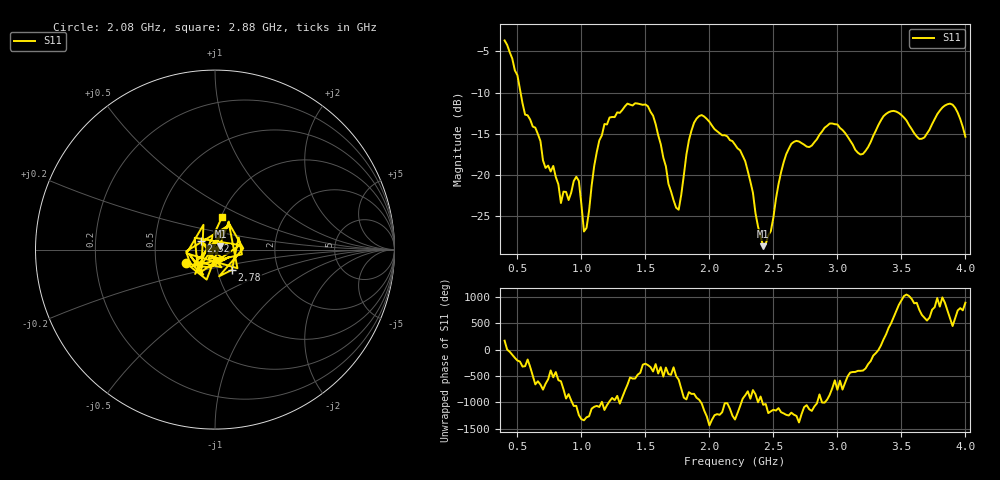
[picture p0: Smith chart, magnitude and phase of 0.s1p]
!Created with skrf (http://scikit-rf.org).
# Hz S RI R 50.0
!freq ReS11 ImS11
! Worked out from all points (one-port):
!   181 points, 400 MHz to 4 GHz, reference 50 ohm
!   lowest |S11| = -28.7 dB at 2.42 GHz (marker M1), VSWR 1.08, Z = 53.1 + j2.2 ohm
!   |S11| at or under -10 dB: 524.7 MHz to end of sweep
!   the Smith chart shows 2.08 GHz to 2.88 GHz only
!   S11 on the Smith chart (normalised r, x): 2.08 GHz: 0.71, -0.11; 2.32 GHz: 0.85, +0.08; 2.78 GHz: 1.17, -0.27; 2.88 GHz: 1.01, +0.37
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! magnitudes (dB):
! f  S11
! 400 MHz  -3.7
! 720 MHz  -19.2
! 780 MHz  -18.9
! 840 MHz  -23.5
! 860 MHz  -22.1
! 980 MHz  -20.8
! 1.02 GHz  -26.9
! 1.14 GHz  -15.8
! 1.3 GHz  -12.5
! 1.52 GHz  -11.7
! 1.76 GHz  -24.3
! 1.88 GHz  -13.7
! 2.08 GHz  -15.0
! 2.2 GHz  -16.3
! 2.32 GHz  -20.8
! 2.42 GHz  -28.7
! 2.48 GHz  -26.9
! 2.58 GHz  -18.5
! 2.66 GHz  -16.0
! 2.78 GHz  -16.6
! 2.88 GHz  -14.7
! 3.1 GHz  -15.9
! 3.2 GHz  -17.5
! 3.42 GHz  -12.3
! 3.56 GHz  -14.0
! 3.68 GHz  -15.5
! 3.88 GHz  -11.3
! 4 GHz  -15.4
